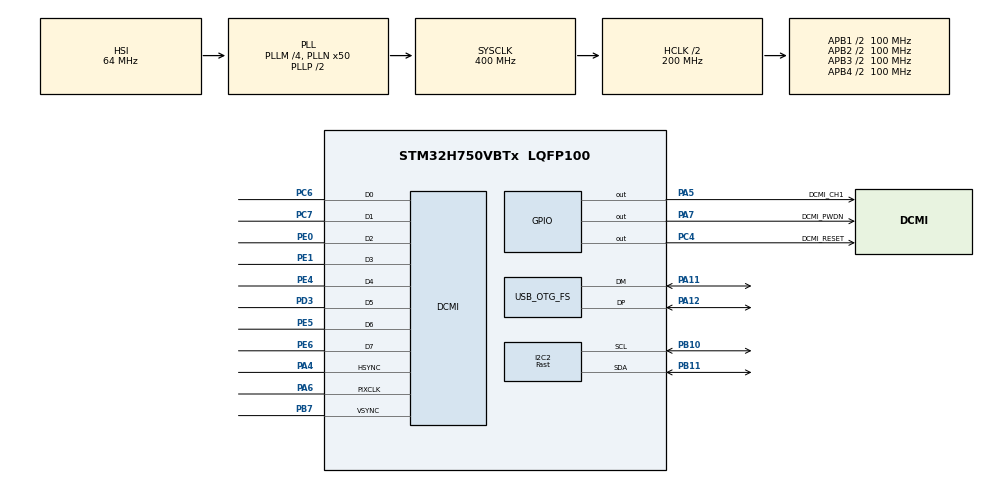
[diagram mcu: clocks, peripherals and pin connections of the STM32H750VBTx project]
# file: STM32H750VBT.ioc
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DCMI.JPEGMode=DCMI_JPEG_ENABLE
DCMI.PCKPolarity=DCMI_PCKPOLARITY_RISING
Dma.DCMI.0.Direction=DMA_PERIPH_TO_MEMORY
Dma.DCMI.0.EventEnable=DISABLE
Dma.DCMI.0.FIFOMode=DMA_FIFOMODE_ENABLE
Dma.DCMI.0.FIFOThreshold=DMA_FIFO_THRESHOLD_FULL
Dma.DCMI.0.Instance=DMA1_Stream0
Dma.DCMI.0.MemBurst=DMA_MBURST_SINGLE
Dma.DCMI.0.MemDataAlignment=DMA_MDATAALIGN_WORD
Dma.DCMI.0.MemInc=DMA_MINC_ENABLE
Dma.DCMI.0.Mode=DMA_CIRCULAR
Dma.DCMI.0.PeriphBurst=DMA_PBURST_SINGLE
Dma.DCMI.0.PeriphDataAlignment=DMA_PDATAALIGN_WORD
Dma.DCMI.0.PeriphInc=DMA_PINC_DISABLE
Dma.DCMI.0.Polarity=HAL_DMAMUX_REQ_GEN_RISING
Dma.DCMI.0.Priority=DMA_PRIORITY_VERY_HIGH
Dma.DCMI.0.RequestNumber=1
Dma.DCMI.0.SignalID=NONE
Dma.DCMI.0.SyncEnable=DISABLE
Dma.DCMI.0.SyncPolarity=HAL_DMAMUX_SYNC_NO_EVENT
Dma.DCMI.0.SyncRequestNumber=1
Dma.DCMI.0.SyncSignalID=NONE
Dma.Request0=DCMI
I2C2.I2C_Speed_Mode=I2C_Fast
I2C2.Timing=0x009034B6
Mcu.Family=STM32H7
Mcu.Name=STM32H750VBTx
Mcu.Package=LQFP100
NVIC.DCMI_IRQn=true\:0\:0\:false\:false\:true\:true\:true
NVIC.DMA1_Stream0_IRQn=true\:0\:0\:false\:false\:true\:false\:true
NVIC.OTG_FS_IRQn=true\:0\:0\:false\:false\:true\:false\:true
NVIC.PriorityGroup=NVIC_PRIORITYGROUP_4
PA10.Signal=USART1_RX
PA11.Mode=Device_Only
PA11.Signal=USB_OTG_FS_DM
PA12.Mode=Device_Only
PA12.Signal=USB_OTG_FS_DP
PA13\ (JTMS/SWDIO).Mode=Serial_Wire
PA13\ (JTMS/SWDIO).Signal=DEBUG_JTMS-SWDIO
PA14\ (JTCK/SWCLK).Mode=Serial_Wire
PA14\ (JTCK/SWCLK).Signal=DEBUG_JTCK-SWCLK
PA4.Mode=Slave_8_bits_External_Synchro
PA4.Signal=DCMI_HSYNC
PA5.GPIO_Label=DCMI_CH1
PA5.Signal=GPIO_Output
PA6.Mode=Slave_8_bits_External_Synchro
PA6.Signal=DCMI_PIXCLK
PA7.GPIO_Label=DCMI_PWDN
PA7.Signal=GPIO_Output
PA9.Signal=USART1_TX
PB10.Mode=I2C
PB10.Signal=I2C2_SCL
PB11.Mode=I2C
PB11.Signal=I2C2_SDA
PB7.Mode=Slave_8_bits_External_Synchro
PB7.Signal=DCMI_VSYNC
PC14-OSC32_IN\ (OSC32_IN).Mode=LSE-External-Oscillator
PC14-OSC32_IN\ (OSC32_IN).Signal=RCC_OSC32_IN
PC15-OSC32_OUT\ (OSC32_OUT).Mode=LSE-External-Oscillator
PC15-OSC32_OUT\ (OSC32_OUT).Signal=RCC_OSC32_OUT
PC4.GPIO_Label=DCMI_RESET
PC4.Signal=GPIO_Output
PC6.Mode=Slave_8_bits_External_Synchro
PC6.Signal=DCMI_D0
PC7.Mode=Slave_8_bits_External_Synchro
PC7.Signal=DCMI_D1
PD3.Mode=Slave_8_bits_External_Synchro
PD3.Signal=DCMI_D5
PE0.Mode=Slave_8_bits_External_Synchro
PE0.Signal=DCMI_D2
PE1.Mode=Slave_8_bits_External_Synchro
PE1.Signal=DCMI_D3
PE4.Mode=Slave_8_bits_External_Synchro
PE4.Signal=DCMI_D4
PE5.Mode=Slave_8_bits_External_Synchro
PE5.Signal=DCMI_D6
PE6.Mode=Slave_8_bits_External_Synchro
PE6.Signal=DCMI_D7
PH0-OSC_IN\ (PH0).Mode=HSE-External-Oscillator
PH0-OSC_IN\ (PH0).Signal=RCC_OSC_IN
PH1-OSC_OUT\ (PH1).Mode=HSE-External-Oscillator
PH1-OSC_OUT\ (PH1).Signal=RCC_OSC_OUT
ProjectManager.HeapSize=0x2000
ProjectManager.StackSize=0x2000
ProjectManager.TargetToolchain=MDK-ARM V5.32
RCC.ADCFreq_Value=129000000
RCC.APB1Freq_Value=100000000
RCC.APB2Freq_Value=100000000
RCC.APB3Freq_Value=100000000
RCC.APB4Freq_Value=100000000
RCC.CortexFreq_Value=400000000
RCC.D1PPRE=RCC_APB3_DIV2
RCC.D2PPRE1=RCC_APB1_DIV2
RCC.D2PPRE2=RCC_APB2_DIV2
RCC.D3PPRE=RCC_APB4_DIV2
RCC.DIVM1=4
RCC.DIVN1=50
RCC.HCLKFreq_Value=200000000
RCC.HPRE=RCC_HCLK_DIV2
RCC.LockedElements=USBoutput
RCC.PLL2FRACN=0
RCC.PLL3FRACN=0
RCC.PLLFRACN=0
RCC.PWR_Regulator_Voltage_Scale=PWR_REGULATOR_VOLTAGE_SCALE1
RCC.ProductRev=revV
RCC.RCC_MCO1Source=RCC_MCO1SOURCE_HSI48
RCC.RCC_MCODiv1=RCC_MCODIV_2
RCC.SYSCLKFreq_VALUE=400000000
RCC.SYSCLKSource=RCC_SYSCLKSOURCE_PLLCLK
RCC.USBCLockSelection=RCC_USBCLKSOURCE_HSI48
RCC.USBFreq_Value=48000000
USB_DEVICE.CLASS_NAME_FS=CDC
USB_DEVICE.VirtualMode-CDC_FS=Cdc
USB_DEVICE.VirtualModeFS=Cdc_FS
USB_OTG_FS.VirtualMode=Device_Only
VP_USB_DEVICE_VS_USB_DEVICE_CDC_FS.Mode=CDC_FS
board=custom

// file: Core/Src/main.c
/* USER CODE BEGIN Header */
/**
 ******************************************************************************
 * @file           : main.c
 * @brief          : Main program body
 ******************************************************************************
 * @attention
 *
 * Copyright (c) 2021 STMicroelectronics.
 * All rights reserved.
 *
 * This software is licensed under terms that can be found in the LICENSE file
 * in the root directory of this software component.
 * If no LICENSE file comes with this software, it is provided AS-IS.
 *
 ******************************************************************************
 */
/* USER CODE END Header */
#include "main.h"
#include "dcmi.h"
#include "dma.h"
#include "i2c.h"
#include "usb_device.h"
#include "gpio.h"

/* USER CODE BEGIN Includes */
#include "OV2640.h"
#include <stdio.h>
#include "usbd_cdc_if.h"

/* USER CODE END Includes */

/* USER CODE BEGIN PV */
uint8_t jpgok = 0;

/* USER CODE END PV */

void SystemClock_Config(void);

int main(void)
{

    /* MCU Configuration--------------------------------------------------------*/

    /* Reset of all peripherals, Initializes the Flash interface and the Systick. */
    HAL_Init();

    /* Configure the system clock */
    SystemClock_Config();

    /* Initialize all configured peripherals */
    MX_GPIO_Init();
    MX_DMA_Init();
    MX_DCMI_Init();
    MX_I2C2_Init();
    MX_USB_DEVICE_Init();
    /* USER CODE BEGIN 2 */
    HAL_GPIO_WritePin(DCMI_PWDN_GPIO_Port, DCMI_PWDN_Pin, GPIO_PIN_RESET);
    HAL_GPIO_WritePin(DCMI_RESET_GPIO_Port, DCMI_RESET_Pin, GPIO_PIN_RESET);
    HAL_Delay(10);
    HAL_GPIO_WritePin(DCMI_RESET_GPIO_Port, DCMI_RESET_Pin, GPIO_PIN_SET);
    HAL_Delay(40);
    OV2640_Init(&hi2c2, &hdcmi);
    HAL_Delay(2000);
    StartOV2640();
    /* USER CODE END 2 */

    /* Infinite loop */
    while (1)
    {
        if (jpgok)
        {
            // 开启新的一轮
            jpgok = 0;
            HAL_Delay(100);
            StartOV2640();
        }

    }
}

void SystemClock_Config(void)
{
    RCC_OscInitTypeDef RCC_OscInitStruct = {0};
    RCC_ClkInitTypeDef RCC_ClkInitStruct = {0};

    /** Supply configuration update enable
     */
    HAL_PWREx_ConfigSupply(PWR_LDO_SUPPLY);
    /** Configure the main internal regulator output voltage
     */
    __HAL_PWR_VOLTAGESCALING_CONFIG(PWR_REGULATOR_VOLTAGE_SCALE1);

    while (!__HAL_PWR_GET_FLAG(PWR_FLAG_VOSRDY))
    {
    }
    /** Initializes the RCC Oscillators according to the specified parameters
     * in the RCC_OscInitTypeDef structure.
     */
    RCC_OscInitStruct.OscillatorType = RCC_OSCILLATORTYPE_HSI48 | RCC_OSCILLATORTYPE_HSI;
    RCC_OscInitStruct.HSIState = RCC_HSI_DIV1;
    RCC_OscInitStruct.HSICalibrationValue = RCC_HSICALIBRATION_DEFAULT;
    RCC_OscInitStruct.HSI48State = RCC_HSI48_ON;
    RCC_OscInitStruct.PLL.PLLState = RCC_PLL_ON;
    RCC_OscInitStruct.PLL.PLLSource = RCC_PLLSOURCE_HSI;
    RCC_OscInitStruct.PLL.PLLM = 4;
    RCC_OscInitStruct.PLL.PLLN = 50;
    RCC_OscInitStruct.PLL.PLLP = 2;
    RCC_OscInitStruct.PLL.PLLQ = 2;
    RCC_OscInitStruct.PLL.PLLR = 2;
    RCC_OscInitStruct.PLL.PLLRGE = RCC_PLL1VCIRANGE_3;
    RCC_OscInitStruct.PLL.PLLVCOSEL = RCC_PLL1VCOWIDE;
    RCC_OscInitStruct.PLL.PLLFRACN = 0;
    if (HAL_RCC_OscConfig(&RCC_OscInitStruct) != HAL_OK)
    {
        Error_Handler();
    }
    /** Initializes the CPU, AHB and APB buses clocks
     */
    RCC_ClkInitStruct.ClockType = RCC_CLOCKTYPE_HCLK | RCC_CLOCKTYPE_SYSCLK | RCC_CLOCKTYPE_PCLK1 |
                                  RCC_CLOCKTYPE_PCLK2 | RCC_CLOCKTYPE_D3PCLK1 | RCC_CLOCKTYPE_D1PCLK1;
    RCC_ClkInitStruct.SYSCLKSource = RCC_SYSCLKSOURCE_PLLCLK;
    RCC_ClkInitStruct.SYSCLKDivider = RCC_SYSCLK_DIV1;
    RCC_ClkInitStruct.AHBCLKDivider = RCC_HCLK_DIV2;
    RCC_ClkInitStruct.APB3CLKDivider = RCC_APB3_DIV2;
    RCC_ClkInitStruct.APB1CLKDivider = RCC_APB1_DIV2;
    RCC_ClkInitStruct.APB2CLKDivider = RCC_APB2_DIV2;
    RCC_ClkInitStruct.APB4CLKDivider = RCC_APB4_DIV2;

    if (HAL_RCC_ClockConfig(&RCC_ClkInitStruct, FLASH_LATENCY_2) != HAL_OK)
    {
        Error_Handler();
    }
}

/* USER CODE BEGIN 4 */

int fputc(int ch, FILE *f)
{
    while (!(CDC_Transmit_FS((uint8_t *)&ch, 1) == USBD_OK))
        ;
    while (!(CDC_Transmit_FS((uint8_t *)&ch, 1) == USBD_BUSY))
        ;
    return ch;
}

/* USER CODE END 4 */

void Error_Handler(void)
{
    __disable_irq();
    while (1)
    {
    }
}
